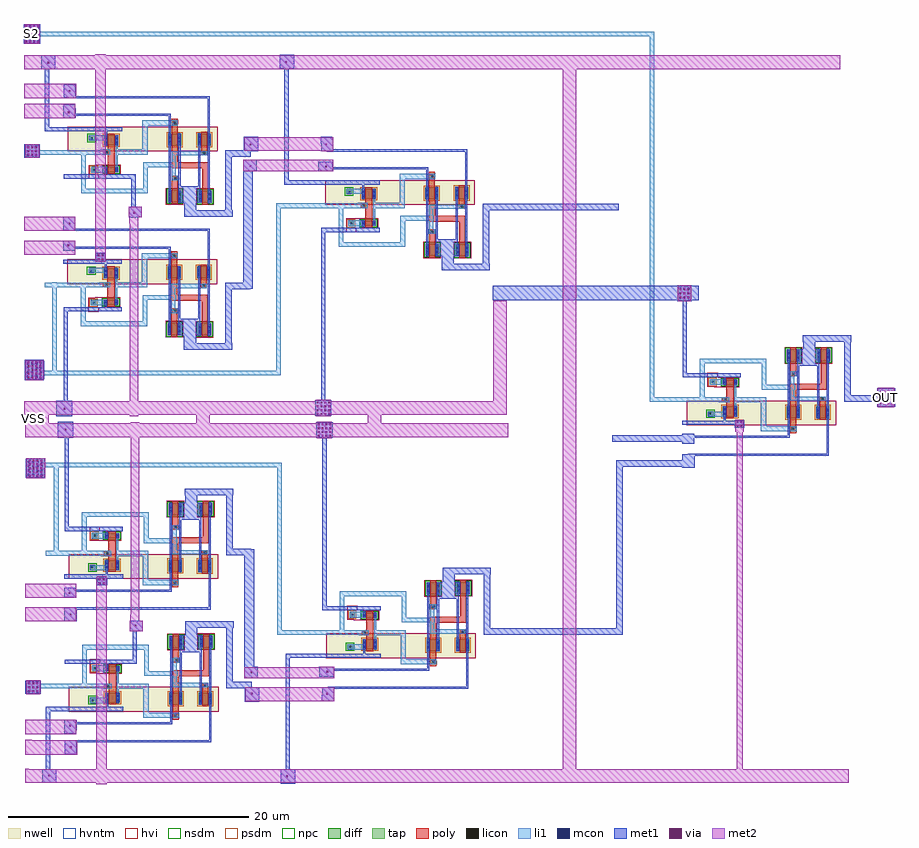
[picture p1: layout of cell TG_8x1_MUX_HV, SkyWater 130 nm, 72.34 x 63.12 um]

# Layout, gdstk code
import gdstk
lib = gdstk.Library(unit=1e-6, precision=1e-09)
def R(c, l, rs):  # rectangles x0, y0, x1, y1
    for r in rs: c.add(gdstk.rectangle(r[:2], r[2:], *l))
def A(c, l, x, y, w, h, nx, ny, dx, dy):  # array of equal rectangles
    R(c, l, [(x+i*dx, y+j*dy, x+i*dx+w, y+j*dy+h) for i in range(nx) for j in range(ny)])
nwell = (64, 20)
diff = (65, 20)
tap = (65, 44)
poly = (66, 20)
licon = (66, 44)
li1 = (67, 20)
mcon = (67, 44)
met1 = (68, 20)
via = (68, 44)
met2 = (69, 20)
hvi = (75, 20)
nsdm = (93, 44)
psdm = (94, 20)
npc = (95, 20)
hvntm = (125, 20)

sky130_fd_pr__pfet_g5v0d = lib.new_cell('sky130_fd_pr__pfet_g5v0d10v5_54DD5S')
R(sky130_fd_pr__pfet_g5v0d, nwell, [(-0.77,-0.73,0.77,0.73)])
R(sky130_fd_pr__pfet_g5v0d, diff, [(-0.59,-0.42,0.59,0.42)])
R(sky130_fd_pr__pfet_g5v0d, poly, [(-0.3,-0.55,0.3,0.55)])
R(sky130_fd_pr__pfet_g5v0d, licon, [(-0.53,-0.255,-0.36,-0.085), (0.36,-0.255,0.53,-0.085), (-0.53,0.085,-0.36,0.255), (0.36,0.085,0.53,0.255)])
R(sky130_fd_pr__pfet_g5v0d, li1, [(-0.53,-0.44,-0.36,0.44), (0.36,-0.44,0.53,0.44)])
R(sky130_fd_pr__pfet_g5v0d, mcon, [(-0.53,-0.265,-0.36,-0.095), (0.36,-0.265,0.53,-0.095), (-0.53,0.095,-0.36,0.265), (0.36,0.095,0.53,0.265)])
R(sky130_fd_pr__pfet_g5v0d, met1, [(-0.56,-0.42,-0.33,0.42), (0.33,-0.42,0.56,0.42)])
R(sky130_fd_pr__pfet_g5v0d, hvi, [(-0.77,-0.73,0.77,-0.605), (-0.775,-0.605,0.775,0.605), (-0.77,0.605,0.77,0.73)])
R(sky130_fd_pr__pfet_g5v0d, psdm, [(-0.715,-0.545,0.715,0.545)])

sky130_fd_pr__nfet_g5v0d = lib.new_cell('sky130_fd_pr__nfet_g5v0d10v5_RU632G')
R(sky130_fd_pr__nfet_g5v0d, diff, [(-0.59,-0.21,0.59,0.21)])
R(sky130_fd_pr__nfet_g5v0d, poly, [(-0.3,-0.34,0.3,0.34)])
R(sky130_fd_pr__nfet_g5v0d, licon, [(-0.53,-0.085,-0.36,0.085), (0.36,-0.085,0.53,0.085)])
R(sky130_fd_pr__nfet_g5v0d, li1, [(-0.53,-0.23,-0.36,0.23), (0.36,-0.23,0.53,0.23)])
R(sky130_fd_pr__nfet_g5v0d, mcon, [(-0.53,-0.085,-0.36,0.085), (0.36,-0.085,0.53,0.085)])
R(sky130_fd_pr__nfet_g5v0d, met1, [(-0.56,-0.21,-0.33,0.21), (0.33,-0.21,0.56,0.21)])
R(sky130_fd_pr__nfet_g5v0d, hvi, [(-0.775,-0.42,0.775,0.42)])
R(sky130_fd_pr__nfet_g5v0d, nsdm, [(-0.715,-0.335,0.715,0.335)])
R(sky130_fd_pr__nfet_g5v0d, hvntm, [(-0.775,-0.395,0.775,0.395)])

inverter_d1_g5v10 = lib.new_cell('inverter_D1_g5v10')
R(inverter_d1_g5v10, nwell, [(-0.49,-3.04,1.36,-1.54)])
R(inverter_d1_g5v10, poly, [(0.14,-1.74,0.74,-1.54), (-0.24,-1.54,0.74,-1.1), (0.14,-1.1,0.74,-0.08)])
R(inverter_d1_g5v10, licon, [(-0.05,-1.395,0.12,-1.225)])
R(inverter_d1_g5v10, li1, [(0.8,-1.87,0.97,-1.54), (-0.49,-1.54,0.36,-1.1), (0.8,-1.54,1.36,-1.1), (0.8,-1.1,0.97,0.175)])
R(inverter_d1_g5v10, met1, [(-0.49,-3.4,1.35,-3.05), (-0.09,-3.05,0.08,-1.87), (-0.09,-0.07,0.08,0.54), (-0.5,0.54,1.34,0.89)])
R(inverter_d1_g5v10, hvi, [(-0.49,-3.04,1.36,-3.02), (-0.49,-3.02,-0.33,-2.895), (1.21,-3.02,1.36,-2.895), (-0.49,-2.895,-0.335,-1.685), (1.215,-2.895,1.36,-1.685), (-0.49,-1.685,-0.33,-1.56), (1.21,-1.685,1.36,-1.56), (-0.49,-1.56,1.36,-1.54)])
R(inverter_d1_g5v10, npc, [(-0.15,-1.495,0.22,-1.125)])
inverter_d1_g5v10.add(gdstk.Reference(sky130_fd_pr__pfet_g5v0d, (0.44,-2.29)))
inverter_d1_g5v10.add(gdstk.Reference(sky130_fd_pr__nfet_g5v0d, (0.44,0.14)))
inverter_d1_g5v10.add(gdstk.Label('VDD', (0.46,-3.25), layer=68, texttype=16))
inverter_d1_g5v10.add(gdstk.Label('GND', (0.46,0.69), layer=68, texttype=16))
inverter_d1_g5v10.add(gdstk.Label('IN', (-0.32,-1.33), layer=67, texttype=16))
inverter_d1_g5v10.add(gdstk.Label('OUT', (1.12,-1.35), layer=67, texttype=16))

c_sky130_fd_pr__pfet_g5v0d = lib.new_cell('sky130_fd_pr__pfet_g5v0d10v5_GK82RQ')
R(c_sky130_fd_pr__pfet_g5v0d, nwell, [(-0.72,-0.81,0.72,0.81)])
R(c_sky130_fd_pr__pfet_g5v0d, diff, [(-0.54,-0.5,0.54,0.5)])
R(c_sky130_fd_pr__pfet_g5v0d, poly, [(-0.25,-0.63,0.25,0.63)])
A(c_sky130_fd_pr__pfet_g5v0d, licon, -0.48, -0.425, 0.17, 0.17, 1, 3, 0, 0.34)
A(c_sky130_fd_pr__pfet_g5v0d, licon, 0.31, -0.425, 0.17, 0.17, 1, 3, 0, 0.34)
R(c_sky130_fd_pr__pfet_g5v0d, li1, [(-0.48,-0.52,-0.31,0.52), (0.31,-0.52,0.48,0.52)])
R(c_sky130_fd_pr__pfet_g5v0d, mcon, [(-0.48,-0.265,-0.31,-0.095), (0.31,-0.265,0.48,-0.095), (-0.48,0.095,-0.31,0.265), (0.31,0.095,0.48,0.265)])
R(c_sky130_fd_pr__pfet_g5v0d, met1, [(-0.51,-0.5,-0.28,0.5), (0.28,-0.5,0.51,0.5)])
R(c_sky130_fd_pr__pfet_g5v0d, hvi, [(-0.72,-0.81,0.72,-0.685), (-0.725,-0.685,0.725,0.685), (-0.72,0.685,0.72,0.81)])
R(c_sky130_fd_pr__pfet_g5v0d, psdm, [(-0.665,-0.625,0.665,0.625)])

c_sky130_fd_pr__nfet_g5v0d = lib.new_cell('sky130_fd_pr__nfet_g5v0d10v5_KJTLYG')
R(c_sky130_fd_pr__nfet_g5v0d, diff, [(-0.54,-0.5,0.54,0.5)])
R(c_sky130_fd_pr__nfet_g5v0d, poly, [(-0.25,-0.63,0.25,0.63)])
A(c_sky130_fd_pr__nfet_g5v0d, licon, -0.48, -0.425, 0.17, 0.17, 1, 3, 0, 0.34)
A(c_sky130_fd_pr__nfet_g5v0d, licon, 0.31, -0.425, 0.17, 0.17, 1, 3, 0, 0.34)
R(c_sky130_fd_pr__nfet_g5v0d, li1, [(-0.48,-0.52,-0.31,0.52), (0.31,-0.52,0.48,0.52)])
R(c_sky130_fd_pr__nfet_g5v0d, mcon, [(-0.48,-0.265,-0.31,-0.095), (0.31,-0.265,0.48,-0.095), (-0.48,0.095,-0.31,0.265), (0.31,0.095,0.48,0.265)])
R(c_sky130_fd_pr__nfet_g5v0d, met1, [(-0.51,-0.5,-0.28,0.5), (0.28,-0.5,0.51,0.5)])
R(c_sky130_fd_pr__nfet_g5v0d, hvi, [(-0.725,-0.685,0.725,0.685)])
R(c_sky130_fd_pr__nfet_g5v0d, nsdm, [(-0.665,-0.625,0.665,0.625)])
R(c_sky130_fd_pr__nfet_g5v0d, hvntm, [(-0.725,-0.685,0.725,0.685)])

tg_2x1_mux_hv = lib.new_cell('TG_2x1_MUX_HV')
R(tg_2x1_mux_hv, nwell, [(-8.155,-1.95,4.28,0.06), (-8.155,0.06,4.27,0.1)])
R(tg_2x1_mux_hv, tap, [(-6.41,-1.22,-5.94,-0.78), (-6.22,1.43,-5.77,1.88)])
R(tg_2x1_mux_hv, poly, [(0.47,-2.625,0.96,-2.5), (0.46,-2.5,1,-2.16), (0.47,-2.16,0.96,-1.86), (0.46,-1.86,0.96,-1.38), (0.47,-1.38,0.96,-1.37), (0.47,-0.26,0.97,1), (2.92,-0.26,3.42,0.43), (0.47,1,3.49,1.5), (2.99,1.5,3.49,3.26), (0.47,2.12,0.97,3.21)])
R(tg_2x1_mux_hv, licon, [(0.635,-2.34,0.805,-2.17), (-6.255,-1.08,-6.085,-0.91), (3.09,0.165,3.26,0.335), (-6.075,1.565,-5.905,1.735), (0.665,2.245,0.835,2.415)])
R(tg_2x1_mux_hv, li1, [(-1.98,-2.47,0.99,-2.03), (-1.98,-2.03,-1.54,-0.06), (-6.35,-1.24,-4.91,-1.18), (-6.37,-1.18,-4.91,-0.82), (-4.06,-0.06,-1.54,0.38), (-8.495,-0.01,-5.08,0.38), (0.47,0.09,3.42,0.43), (-7.045,0.38,-6.655,3.195), (0.47,0.43,0.81,1.015), (-1.905,1.015,0.865,1.405), (-6.22,1.4,-4.89,1.88), (-1.905,1.405,-1.515,3.195), (0.47,1.405,0.81,2.12), (0.46,2.12,0.99,2.52), (-7.045,3.195,-1.515,3.585)])
R(tg_2x1_mux_hv, met1, [(-8.5,-5.48,-7.49,-4.495), (-8.5,-4.495,3.65,-4.35), (-8.025,-4.35,3.65,-4.325), (3.48,-4.325,3.65,4.395), (-8.52,-3.49,-7.51,-3.005), (-8.52,-3.005,0.41,-2.835), (-8.52,-2.835,-7.51,-2.67), (0.24,-2.835,0.41,4.36), (-8.505,-1.92,-4.635,-1.57), (1.03,-1.06,1.21,2.98), (2.69,-0.71,2.86,2.98), (4.93,0,7.03,0.54), (4.93,0.54,5.47,5), (-8.485,2.02,-5.13,2.37), (1.03,2.98,2.86,4.37), (1.52,4.37,2.52,5), (2.69,4.37,2.86,4.385), (1.51,5,5.52,5.54)])
R(tg_2x1_mux_hv, hvi, [(-8.155,-1.95,4.28,0.06), (-8.155,0.06,4.27,0.1), (-5.87,1.21,-5.315,1.235), (-6.415,1.235,-5.315,2.04), (-6.415,2.04,-5.03,2.05), (-6.415,2.05,-5.575,2.395)])
R(tg_2x1_mux_hv, nsdm, [(-6.535,-1.345,-5.815,-0.655)])
R(tg_2x1_mux_hv, psdm, [(-6.345,1.305,-5.645,2.005)])
R(tg_2x1_mux_hv, npc, [(0.535,-2.44,0.905,-2.07), (2.99,0.065,3.36,0.435), (0.565,2.145,0.935,2.515)])
tg_2x1_mux_hv.add(gdstk.Reference(inverter_d1_g5v10, (-4.98,1.48)))
tg_2x1_mux_hv.add(gdstk.Reference(c_sky130_fd_pr__pfet_g5v0d, (3.17,-0.88)))
tg_2x1_mux_hv.add(gdstk.Reference(c_sky130_fd_pr__pfet_g5v0d, (0.71,-0.87)))
tg_2x1_mux_hv.add(gdstk.Reference(c_sky130_fd_pr__nfet_g5v0d, (0.72,3.84)))
tg_2x1_mux_hv.add(gdstk.Reference(c_sky130_fd_pr__nfet_g5v0d, (3.24,3.86)))
tg_2x1_mux_hv.add(gdstk.Label('IN1', (-8.05,-3.1), layer=68, texttype=16))
tg_2x1_mux_hv.add(gdstk.Label('IN0', (-8.05,-5.04), layer=68, texttype=16))
tg_2x1_mux_hv.add(gdstk.Label('VDD', (-8.37,-1.68), layer=68, texttype=16))
tg_2x1_mux_hv.add(gdstk.Label('VSS', (-8.26,2.12), layer=68, texttype=16))
tg_2x1_mux_hv.add(gdstk.Label('OUT', (6.72,0.32), layer=68, texttype=16))
tg_2x1_mux_hv.add(gdstk.Label('S', (-7.82,0.18), layer=67, texttype=16))

tg_4x1_mux_hv = lib.new_cell('TG_4x1_MUX_HV')
R(tg_4x1_mux_hv, li1, [(-3.16,-17.01,-2,-16.57), (-3.16,-16.57,0.455,-16.18), (-3.16,-16.18,-2,-15.96), (17.685,-12.13,21.815,-11.74), (17.685,-11.74,18.075,1.765), (2.73,-8,3.5,-7.34), (-1.535,-5.55,0.415,-5.16), (-3.14,0.92,-1.63,1.765), (-3.14,1.765,18.075,2.155), (-3.14,2.155,-1.63,2.48)])
A(tg_4x1_mux_hv, mcon, -3.025, -16.93, 0.17, 0.17, 3, 3, 0.36, 0.36)
A(tg_4x1_mux_hv, mcon, -3.01, 1.075, 0.17, 0.17, 4, 4, 0.36, 0.36)
R(tg_4x1_mux_hv, mcon, [(2.85,-7.935,3.02,-7.765), (3.21,-7.935,3.38,-7.765), (2.85,-7.575,3.02,-7.405), (3.21,-7.575,3.38,-7.405)])
R(tg_4x1_mux_hv, met1, [(17.98,-24.5,19.19,-23.3), (-1.82,-24.42,-0.67,-23.28), (18.385,-23.3,18.735,-14.04), (-1.515,-23.28,-1.165,-18.48), (0.32,-21.7,0.76,-21.24), (0,-20.36,0.99,-19.19), (-1.515,-18.48,0.365,-18.13), (15,-17.68,16.2,-16.48), (21.41,-17.66,22.35,-17.12), (21.63,-17.12,22.03,-16.75), (-3.22,-17.04,-1.94,-15.93), (15.01,-16.48,15.55,-16.02), (14.96,-15.75,16.08,-15.61), (14.95,-15.61,16.08,-14.8), (21.2,-15.61,22.39,-14.79), (14.95,-14.8,16.03,-14.79), (14.95,-14.79,15.77,-5.05), (4.53,-14.54,6.025,-14.19), (5.675,-14.19,6.025,-11.85), (18.385,-14.04,21.765,-13.69), (5.46,-11.85,6.53,-10.98), (5.675,-10.98,6.025,-10.955), (0.33,-10.64,0.72,-10.25), (21.435,-10.1,21.785,4.23), (0.22,-8.88,0.65,-8.45), (2.67,-8.03,3.56,-7.31), (2.74,-7.31,2.77,-7.11), (3.31,-7.31,3.34,-7.11), (0.035,-3.52,0.385,4.24), (-3.17,0.86,-1.6,0.92), (-3.19,0.92,-1.58,2.48), (-3.17,2.48,-1.6,2.54), (20.94,4.23,22.29,5.51), (-0.55,4.24,0.77,5.54), (21.435,5.51,21.785,5.535)])
A(tg_4x1_mux_hv, via, -2.975, -16.88, 0.15, 0.15, 3, 3, 0.32, 0.32)
A(tg_4x1_mux_hv, via, -2.94, 0.985, 0.15, 0.15, 4, 5, 0.32, 0.32)
A(tg_4x1_mux_hv, via, 21.06, 4.315, 0.15, 0.15, 4, 4, 0.32, 0.32)
R(tg_4x1_mux_hv, via, [(18.435,-23.945,18.585,-23.795), (-1.31,-23.89,-1.16,-23.74), (0.465,-21.545,0.615,-21.395), (0.405,-19.77,0.555,-19.62), (15.495,-17.105,15.645,-16.955), (21.755,-17.105,21.905,-16.955), (15.485,-15.32,15.635,-15.17), (21.76,-15.28,21.91,-15.13), (5.845,-11.445,5.995,-11.295), (0.45,-10.52,0.6,-10.37), (0.36,-8.74,0.51,-8.59), (2.88,-7.905,3.03,-7.755), (3.2,-7.905,3.35,-7.755), (2.88,-7.585,3.03,-7.435), (3.2,-7.585,3.35,-7.435), (0.035,4.83,0.185,4.98)])
R(tg_4x1_mux_hv, met2, [(2.66,-24.525,3.55,-24.42), (-3.23,-24.43,-2.94,-24.42), (-3.23,-24.42,37.01,-23.28), (-3.23,-23.28,-2.94,-23.27), (2.66,-23.28,3.55,-7.34), (-3.24,-22.08,1.08,-20.88), (-3.24,-20.88,-2.71,-20.87), (-3.19,-20.4,1,-20.39), (-3.24,-20.39,1,-19.21), (-3.19,-19.21,1,-19.2), (15.025,-17.64,22.43,-16.49), (-3.16,-17.06,-2,-15.91), (21.39,-16.49,22.43,-16.47), (14.965,-15.76,22.43,-14.81), (21.21,-14.81,22.43,-14.8), (5.46,-11.85,6.53,-10.98), (-3.22,-11.02,1.01,-9.85), (5.5,-10.98,6.24,-10.49), (5.53,-10.49,6.23,4.29), (-3.24,-9.05,0.99,-7.88), (2.73,-7.34,3.5,-7.29), (-3.14,0.87,-1.63,0.88), (-3.14,0.88,-1.59,2.51), (-3.14,2.51,-1.63,2.53), (20.99,4.18,22.24,4.29), (-3.23,4.29,36.86,5.43), (5.53,5.43,6.23,5.52), (20.99,5.43,22.24,5.56)])
tg_4x1_mux_hv.add(gdstk.Reference(tg_2x1_mux_hv, (8.55,-16.56)))
tg_4x1_mux_hv.add(gdstk.Reference(tg_2x1_mux_hv, (29.92,-12.12)))
tg_4x1_mux_hv.add(gdstk.Reference(tg_2x1_mux_hv, (8.52,-5.54)))
tg_4x1_mux_hv.add(gdstk.Label('VDD_HIGH', (-2.73,-23.89), layer=69, texttype=16))
tg_4x1_mux_hv.add(gdstk.Label('IN0', (-2.55,-21.47), layer=69, texttype=16))
tg_4x1_mux_hv.add(gdstk.Label('IN1', (-2.5,-19.72), layer=69, texttype=16))
tg_4x1_mux_hv.add(gdstk.Label('VSS', (-2.7,4.81), layer=69, texttype=16))
tg_4x1_mux_hv.add(gdstk.Label('IN2', (-2.82,-10.37), layer=69, texttype=16))
tg_4x1_mux_hv.add(gdstk.Label('IN3', (-2.79,-8.5), layer=69, texttype=16))
tg_4x1_mux_hv.add(gdstk.Label('S0', (-2.65,-16.45), layer=69, texttype=16))
tg_4x1_mux_hv.add(gdstk.Label('S1', (-2.42,1.71), layer=69, texttype=16))

tg_8x1_mux_hv = lib.new_cell('TG_8x1_MUX_HV')
R(tg_8x1_mux_hv, li1, [(2.395,-11.065,2.785,-3.375), (51.865,1.68,54.985,2.07), (51.865,2.07,52.255,32.025), (2.255,3.87,2.645,11.615), (54.2,10.1,55.32,11.3), (-0.04,31.46,1.22,32.025), (-0.04,32.025,52.255,32.415), (-0.04,32.415,1.22,33)])
A(tg_8x1_mux_hv, mcon, 54.315, 10.255, 0.17, 0.17, 3, 3, 0.36, 0.36)
A(tg_8x1_mux_hv, mcon, -0.035, 31.605, 0.17, 0.17, 4, 4, 0.36, 0.36)
R(tg_8x1_mux_hv, met1, [(39.31,-17.65,49.63,-17.11), (49.09,-17.11,49.63,-3.69), (49.09,-3.69,55.26,-3.15), (48.75,-1.63,55.34,-1.09), (58.94,-0.46,59.72,0.14), (70.78,1.29,72.25,1.69), (69.22,1.69,72.25,2.23), (70.78,2.23,72.25,2.8), (54.605,3.71,54.955,10.04), (54.17,10.04,55.35,10.1), (54.15,10.1,55.37,10.12), (38.86,10.12,55.945,11.33), (54.17,11.33,55.35,11.36), (38.93,17.605,49.29,18.145), (-0.07,31.4,1.25,31.46), (-0.09,31.46,1.27,33), (-0.07,33,1.25,33.06)])
A(tg_8x1_mux_hv, via, 70.96, 1.49, 0.15, 0.15, 4, 4, 0.32, 0.32)
A(tg_8x1_mux_hv, via, 54.365, 10.305, 0.15, 0.15, 3, 3, 0.32, 0.32)
A(tg_8x1_mux_hv, via, 0.035, 31.515, 0.15, 0.15, 4, 5, 0.32, 0.32)
R(tg_8x1_mux_hv, via, [(59.095,-0.395,59.245,-0.245), (59.415,-0.395,59.565,-0.245), (59.095,-0.075,59.245,0.075), (59.415,-0.075,59.565,0.075)])
R(tg_8x1_mux_hv, met2, [(38.19,-29.95,68.4,-28.81), (44.65,-28.81,45.79,29.305), (59.09,-28.81,59.595,-0.82), (14.2,-1.24,15.34,1.68), (28.46,-1.24,29.6,1.68), (0.09,-1.23,1.98,1.75), (59,-0.82,59.67,-0.51), (58.99,-0.51,59.67,0.19), (38.88,0.595,40.02,10.07), (70.83,1.24,72.2,2.85), (54.2,10.05,55.32,11.35), (38.86,29.305,67.72,30.445), (-0.04,31.41,1.22,33.05)])
tg_8x1_mux_hv.add(gdstk.Reference(tg_4x1_mux_hv, (3.16,6.025), x_reflection=True))
tg_8x1_mux_hv.add(gdstk.Reference(tg_4x1_mux_hv, (3.25,-5.53)))
tg_8x1_mux_hv.add(gdstk.Reference(tg_2x1_mux_hv, (63.09,1.69)))
tg_8x1_mux_hv.add(gdstk.Label('VSS', (0.71,0.28), layer=69, texttype=16))
tg_8x1_mux_hv.add(gdstk.Label('S2', (0.53,32.28), layer=69, texttype=16))
tg_8x1_mux_hv.add(gdstk.Label('OUT', (71.45,2.04), layer=69, texttype=16))

lib.write_gds('TG_8x1_MUX_HV.gds')
